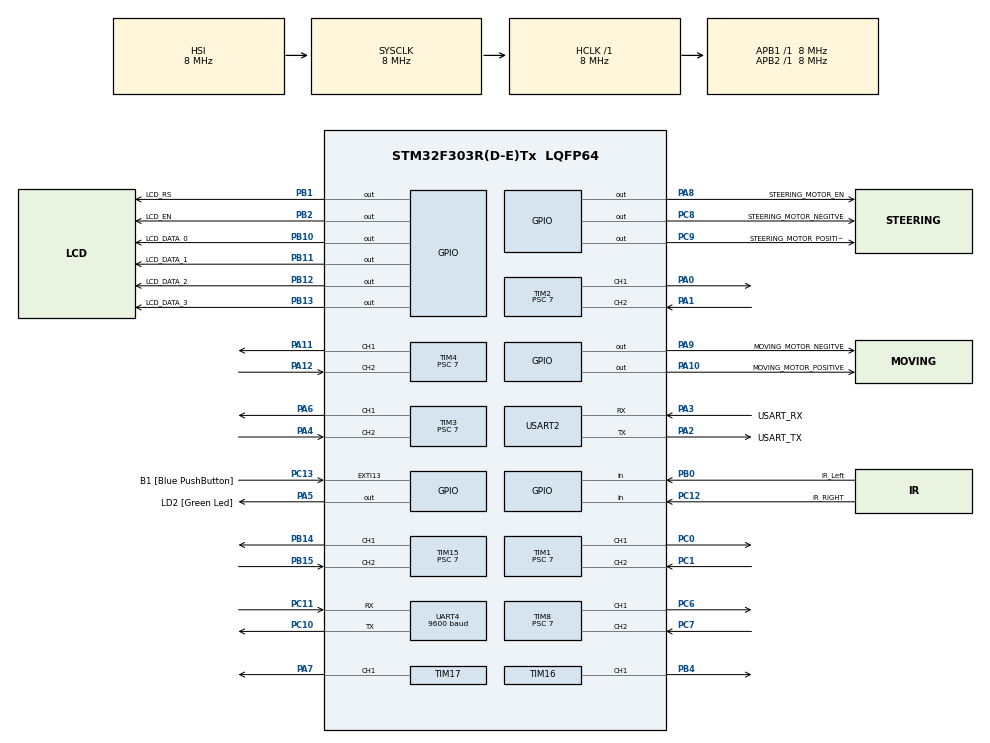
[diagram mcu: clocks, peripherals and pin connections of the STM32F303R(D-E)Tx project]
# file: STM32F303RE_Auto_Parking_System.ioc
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FREERTOS.Events01=Car_mode,Dynamic,NULL;Parking_side,Dynamic,NULL
FREERTOS.Mutexes01=Car_Conrol_Mode,Dynamic,NULL
FREERTOS.Tasks01=defaultTask,55,128,DefaultTask,Default,NULL,Dynamic,NULL,NULL;ultrasonics_read,54,128,RTOS_Ultrasonics_Read,Default,NULL,Dynamic,NULL,NULL;car_next_step,52,128,RTOS_Car_Next_Step,Default,NULL,Dynamic,NULL,NULL;Automatic_Parking,53,128,RTOS_Automatic_Parking,Default,NULL,Dynamic,NULL,NULL
FREERTOS.configMAX_TASK_NAME_LEN=20
FREERTOS.configTOTAL_HEAP_SIZE=5120
FREERTOS.configUSE_NEWLIB_REENTRANT=1
Mcu.Family=STM32F3
Mcu.Name=STM32F303R(D-E)Tx
Mcu.Package=LQFP64
NVIC.PriorityGroup=NVIC_PRIORITYGROUP_4
NVIC.TIM1_BRK_TIM15_IRQn=true\:5\:0\:false\:false\:true\:true\:true\:true\:true
NVIC.TIM1_CC_IRQn=true\:5\:0\:false\:false\:true\:true\:true\:true\:true
NVIC.TIM2_IRQn=true\:5\:0\:false\:false\:true\:true\:true\:true\:true
NVIC.TIM3_IRQn=true\:5\:0\:false\:false\:true\:true\:true\:true\:true
NVIC.TIM4_IRQn=true\:5\:0\:false\:false\:true\:true\:true\:true\:true
NVIC.TIM6_DAC_IRQn=true\:15\:0\:false\:false\:true\:false\:false\:true\:true
NVIC.TIM8_CC_IRQn=true\:5\:0\:false\:false\:true\:true\:true\:true\:true
NVIC.TimeBase=TIM6_DAC_IRQn
NVIC.TimeBaseIP=TIM6
NVIC.UART4_IRQn=true\:5\:0\:false\:false\:true\:true\:true\:true\:true
PA0.GPIO_PuPd=GPIO_PULLDOWN
PA0.GPIO_Speed=GPIO_SPEED_FREQ_HIGH
PA0.Signal=S_TIM2_CH1_ETR
PA1.Signal=S_TIM2_CH2
PA10.GPIO_Label=MOVING_MOTOR_POSITIVE
PA10.Signal=GPIO_Output
PA11.GPIO_PuPd=GPIO_PULLDOWN
PA11.GPIO_Speed=GPIO_SPEED_FREQ_HIGH
PA11.Signal=S_TIM4_CH1
PA12.Signal=S_TIM4_CH2
PA13.GPIO_Label=TMS
PA13.Mode=Serial_Wire
PA13.Signal=SYS_JTMS-SWDIO
PA14.GPIO_Label=TCK
PA14.Mode=Serial_Wire
PA14.Signal=SYS_JTCK-SWCLK
PA2.GPIO_Label=USART_TX
PA2.GPIO_Mode=GPIO_MODE_AF_PP
PA2.GPIO_PuPd=GPIO_NOPULL
PA2.GPIO_Speed=GPIO_SPEED_FREQ_LOW
PA2.Mode=Asynchronous
PA2.Signal=USART2_TX
PA3.GPIO_Label=USART_RX
PA3.GPIO_Mode=GPIO_MODE_AF_PP
PA3.GPIO_PuPd=GPIO_NOPULL
PA3.GPIO_Speed=GPIO_SPEED_FREQ_LOW
PA3.Mode=Asynchronous
PA3.Signal=USART2_RX
PA4.Signal=S_TIM3_CH2
PA5.GPIO_Label=LD2 [Green Led]
PA5.GPIO_Mode=GPIO_MODE_OUTPUT_PP
PA5.GPIO_PuPd=GPIO_NOPULL
PA5.GPIO_Speed=GPIO_SPEED_FREQ_LOW
PA5.Signal=GPIO_Output
PA6.GPIO_PuPd=GPIO_PULLDOWN
PA6.GPIO_Speed=GPIO_SPEED_FREQ_HIGH
PA6.Signal=S_TIM3_CH1
PA7.Signal=S_TIM17_CH1
PA8.GPIO_Label=STEERING_MOTOR_EN
PA8.Signal=GPIO_Output
PA9.GPIO_Label=MOVING_MOTOR_NEGITVE
PA9.Signal=GPIO_Output
PB0.GPIO_Label=IR_Left
PB0.Signal=GPIO_Input
PB1.GPIO_Label=LCD_RS
PB1.Signal=GPIO_Output
PB10.GPIO_Label=LCD_DATA_0
PB10.Signal=GPIO_Output
PB11.GPIO_Label=LCD_DATA_1
PB11.Signal=GPIO_Output
PB12.GPIO_Label=LCD_DATA_2
PB12.Signal=GPIO_Output
PB13.GPIO_Label=LCD_DATA_3
PB13.Signal=GPIO_Output
PB14.GPIO_PuPd=GPIO_PULLDOWN
PB14.GPIO_Speed=GPIO_SPEED_FREQ_HIGH
PB14.Signal=S_TIM15_CH1
PB15.Signal=S_TIM15_CH2
PB2.GPIO_Label=LCD_EN
PB2.PinState=GPIO_PIN_SET
PB2.Signal=GPIO_Output
PB3.GPIO_Label=SWO
PB3.Signal=SYS_JTDO-TRACESWO
PB4.GPIO_PuPd=GPIO_PULLDOWN
PB4.GPIO_Speed=GPIO_SPEED_FREQ_HIGH
PB4.Signal=S_TIM16_CH1
PC0.GPIO_PuPd=GPIO_PULLDOWN
PC0.GPIO_Speed=GPIO_SPEED_FREQ_HIGH
PC0.Signal=S_TIM1_CH1
PC1.Signal=S_TIM1_CH2
PC10.Mode=Asynchronous
PC10.Signal=UART4_TX
PC11.Mode=Asynchronous
PC11.Signal=UART4_RX
PC12.GPIO_Label=IR_RIGHT
PC12.Signal=GPIO_Input
PC13.GPIO_Label=B1 [Blue PushButton]
PC13.GPIO_ModeDefaultEXTI=GPIO_MODE_IT_FALLING
PC13.Signal=GPXTI13
PC14-OSC32_IN.Mode=LSE-External-Clock-Source
PC14-OSC32_IN.Signal=RCC_OSC32_IN
PC15-OSC32_OUT.Signal=RCC_OSC32_OUT
PC6.GPIO_PuPd=GPIO_PULLDOWN
PC6.GPIO_Speed=GPIO_SPEED_FREQ_HIGH
PC6.Signal=S_TIM8_CH1
PC7.Signal=S_TIM8_CH2
PC8.GPIO_Label=STEERING_MOTOR_NEGITVE
PC8.Signal=GPIO_Output
PC9.GPIO_Label=STEERING_MOTOR_POSITIVE
PC9.Signal=GPIO_Output
PF0-OSC_IN.Signal=RCC_OSC_IN
PF1-OSC_OUT.Signal=RCC_OSC_OUT
ProjectManager.HeapSize=0x200
ProjectManager.StackSize=0x400
ProjectManager.TargetToolchain=STM32CubeIDE
RCC.AHBFreq_Value=8000000
RCC.APB1Freq_Value=8000000
RCC.APB1TimFreq_Value=8000000
RCC.APB2Freq_Value=8000000
RCC.APB2TimFreq_Value=8000000
RCC.CortexFreq_Value=8000000
RCC.HCLKFreq_Value=8000000
RCC.HSE_VALUE=8000000
RCC.HSI_VALUE=8000000
RCC.LSE_VALUE=32768
RCC.PLLM=8
RCC.PLLMUL=RCC_PLL_MUL9
RCC.PLLN=336
RCC.PLLP=RCC_PLLP_DIV4
RCC.PLLQ=7
RCC.RCC_PLLsource_Clock_Source_FROM_HSE=RCC_HSE_PREDIV_DIV2
RCC.SYSCLKFreq_VALUE=8000000
RCC.USBFreq_Value=72000000
SH.S_TIM15_CH1.0=TIM15_CH1,PWM Generation1 CH1
SH.S_TIM15_CH2.0=TIM15_CH2,Input_Capture2_from_TI2
SH.S_TIM16_CH1.0=TIM16_CH1,PWM Generation1 CH1
SH.S_TIM17_CH1.0=TIM17_CH1,PWM Generation1 CH1
SH.S_TIM1_CH1.0=TIM1_CH1,PWM Generation1 CH1
SH.S_TIM1_CH2.0=TIM1_CH2,Input_Capture2_from_TI2
SH.S_TIM2_CH1_ETR.0=TIM2_CH1,PWM Generation1 CH1
SH.S_TIM2_CH2.0=TIM2_CH2,Input_Capture2_from_TI2
SH.S_TIM3_CH1.0=TIM3_CH1,PWM Generation1 CH1
SH.S_TIM3_CH2.0=TIM3_CH2,Input_Capture2_from_TI2
SH.S_TIM4_CH1.0=TIM4_CH1,PWM Generation1 CH1
SH.S_TIM4_CH2.0=TIM4_CH2,Input_Capture2_from_TI2
SH.S_TIM8_CH1.0=TIM8_CH1,PWM Generation1 CH1
SH.S_TIM8_CH2.0=TIM8_CH2,Input_Capture2_from_TI2
TIM1.Channel-Input_Capture2_from_TI2=TIM_CHANNEL_2
TIM1.Channel-PWM\ Generation1\ CH1=TIM_CHANNEL_1
TIM1.Prescaler=7
TIM1.Pulse-PWM\ Generation1\ CH1=32700
TIM15.Channel-Input_Capture2_from_TI2=TIM_CHANNEL_2
TIM15.Channel-PWM\ Generation1\ CH1=TIM_CHANNEL_1
TIM15.Prescaler=7
TIM15.Pulse-PWM\ Generation1\ CH1=32700
TIM16.Channel=TIM_CHANNEL_1
TIM16.Prescaler=7
TIM16.Pulse=32700
TIM17.Channel=TIM_CHANNEL_1
TIM17.Prescaler=7
TIM17.Pulse=32700
TIM2.Channel-Input_Capture2_from_TI2=TIM_CHANNEL_2
TIM2.Channel-PWM\ Generation1\ CH1=TIM_CHANNEL_1
TIM2.Period=65535
TIM2.Prescaler=7
TIM2.Pulse-PWM\ Generation1\ CH1=32700
TIM3.Channel-Input_Capture2_from_TI2=TIM_CHANNEL_2
TIM3.Channel-PWM\ Generation1\ CH1=TIM_CHANNEL_1
TIM3.Prescaler=7
TIM3.Pulse-PWM\ Generation1\ CH1=32700
TIM4.Channel-Input_Capture2_from_TI2=TIM_CHANNEL_2
TIM4.Channel-PWM\ Generation1\ CH1=TIM_CHANNEL_1
TIM4.Prescaler=7
TIM4.Pulse-PWM\ Generation1\ CH1=32700
TIM8.Channel-Input_Capture2_from_TI2=TIM_CHANNEL_2
TIM8.Channel-PWM\ Generation1\ CH1=TIM_CHANNEL_1
TIM8.Prescaler=7
TIM8.Pulse-PWM\ Generation1\ CH1=32700
UART4.BaudRate=9600
USART2.VirtualMode-Asynchronous=VM_ASYNC
VP_FREERTOS_VS_CMSIS_V2.Mode=CMSIS_V2
VP_SYS_VS_tim6.Mode=TIM6
VP_TIM15_VS_ClockSourceINT.Mode=Internal
VP_TIM16_VS_ClockSourceINT.Mode=Enable_Timer
VP_TIM17_VS_ClockSourceINT.Mode=Enable_Timer
VP_TIM1_VS_ClockSourceINT.Mode=Internal
VP_TIM2_VS_ClockSourceINT.Mode=Internal
VP_TIM3_VS_ClockSourceINT.Mode=Internal
VP_TIM4_VS_ClockSourceINT.Mode=Internal
VP_TIM8_VS_ClockSourceINT.Mode=Internal
board=NUCLEO-F303RE

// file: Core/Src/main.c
/* USER CODE BEGIN Header */
/**
  ******************************************************************************
  * @file           : main.c
  * @brief          : Main program body
  ******************************************************************************
  * @attention
  *
  * Copyright (c) 2023 STMicroelectronics.
  * All rights reserved.
  *
  * This software is licensed under terms that can be found in the LICENSE file
  * in the root directory of this software component.
  * If no LICENSE file comes with this software, it is provided AS-IS.
  *
  ******************************************************************************
  */
/* USER CODE END Header */
#include "main.h"
#include "cmsis_os.h"
#include "tim.h"
#include "usart.h"
#include "gpio.h"

void SystemClock_Config(void);
void MX_FREERTOS_Init(void);

int main(void)
{

  /* MCU Configuration--------------------------------------------------------*/

  /* Reset of all peripherals, Initializes the Flash interface and the Systick. */
  HAL_Init();

  /* Configure the system clock */
  SystemClock_Config();

  /* Initialize all configured peripherals */
  MX_GPIO_Init();
  MX_TIM1_Init();
  MX_TIM2_Init();
  MX_TIM3_Init();
  MX_TIM4_Init();
  MX_TIM8_Init();
  MX_TIM15_Init();
  MX_TIM16_Init();
  MX_USART2_UART_Init();
  MX_UART4_Init();
  MX_TIM17_Init();

  /* Init scheduler */
  osKernelInitialize();  /* Call init function for freertos objects (in freertos.c) */
  MX_FREERTOS_Init();

  /* Start scheduler */
  osKernelStart();

  /* We should never get here as control is now taken by the scheduler */
  /* Infinite loop */
  while (1)
  {

  }
}

void SystemClock_Config(void)
{
  RCC_OscInitTypeDef RCC_OscInitStruct = {0};
  RCC_ClkInitTypeDef RCC_ClkInitStruct = {0};
  RCC_PeriphCLKInitTypeDef PeriphClkInit = {0};

  /** Initializes the RCC Oscillators according to the specified parameters
  * in the RCC_OscInitTypeDef structure.
  */
  RCC_OscInitStruct.OscillatorType = RCC_OSCILLATORTYPE_HSI;
  RCC_OscInitStruct.HSIState = RCC_HSI_ON;
  RCC_OscInitStruct.HSICalibrationValue = RCC_HSICALIBRATION_DEFAULT;
  RCC_OscInitStruct.PLL.PLLState = RCC_PLL_NONE;
  if (HAL_RCC_OscConfig(&RCC_OscInitStruct) != HAL_OK)
  {
    Error_Handler();
  }

  /** Initializes the CPU, AHB and APB buses clocks
  */
  RCC_ClkInitStruct.ClockType = RCC_CLOCKTYPE_HCLK|RCC_CLOCKTYPE_SYSCLK
                              |RCC_CLOCKTYPE_PCLK1|RCC_CLOCKTYPE_PCLK2;
  RCC_ClkInitStruct.SYSCLKSource = RCC_SYSCLKSOURCE_HSI;
  RCC_ClkInitStruct.AHBCLKDivider = RCC_SYSCLK_DIV1;
  RCC_ClkInitStruct.APB1CLKDivider = RCC_HCLK_DIV1;
  RCC_ClkInitStruct.APB2CLKDivider = RCC_HCLK_DIV1;

  if (HAL_RCC_ClockConfig(&RCC_ClkInitStruct, FLASH_LATENCY_0) != HAL_OK)
  {
    Error_Handler();
  }
  PeriphClkInit.PeriphClockSelection = RCC_PERIPHCLK_USART2|RCC_PERIPHCLK_UART4
                              |RCC_PERIPHCLK_TIM1|RCC_PERIPHCLK_TIM15
                              |RCC_PERIPHCLK_TIM16|RCC_PERIPHCLK_TIM17
                              |RCC_PERIPHCLK_TIM8|RCC_PERIPHCLK_TIM2
                              |RCC_PERIPHCLK_TIM34;
  PeriphClkInit.Usart2ClockSelection = RCC_USART2CLKSOURCE_PCLK1;
  PeriphClkInit.Uart4ClockSelection = RCC_UART4CLKSOURCE_PCLK1;
  PeriphClkInit.Tim1ClockSelection = RCC_TIM1CLK_HCLK;
  PeriphClkInit.Tim15ClockSelection = RCC_TIM15CLK_HCLK;
  PeriphClkInit.Tim16ClockSelection = RCC_TIM16CLK_HCLK;
  PeriphClkInit.Tim17ClockSelection = RCC_TIM17CLK_HCLK;
  PeriphClkInit.Tim8ClockSelection = RCC_TIM8CLK_HCLK;
  PeriphClkInit.Tim2ClockSelection = RCC_TIM2CLK_HCLK;
  PeriphClkInit.Tim34ClockSelection = RCC_TIM34CLK_HCLK;
  if (HAL_RCCEx_PeriphCLKConfig(&PeriphClkInit) != HAL_OK)
  {
    Error_Handler();
  }
}

void HAL_TIM_PeriodElapsedCallback(TIM_HandleTypeDef *htim)
{
  if (htim->Instance == TIM6) {
    HAL_IncTick();
  }
}

void Error_Handler(void)
{
  __disable_irq();
  while (1)
  {
  }
}

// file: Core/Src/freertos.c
/* USER CODE BEGIN Header */
/**
  ******************************************************************************
  * File Name          : freertos.c
  * Description        : Code for freertos applications
  ******************************************************************************
  * @attention
  *
  * Copyright (c) 2023 STMicroelectronics.
  * All rights reserved.
  *
  * This software is licensed under terms that can be found in the LICENSE file
  * in the root directory of this software component.
  * If no LICENSE file comes with this software, it is provided AS-IS.
  *
  ******************************************************************************
  */
/* USER CODE END Header */

#include "FreeRTOS.h"
#include "task.h"
#include "main.h"
#include "cmsis_os.h"

/* USER CODE BEGIN Includes */
#include "tim.h"
#include "usart.h"
#include "../../ECU/ECU_std_types.h"
#include "../../MCAL/GPIO/mcal_gpio.h"
#include "../../Drivers/ECU/Motor/ecu_motor.h"
#include "../../Drivers/ECU/LCD/hal_lcd.h"
#include "../../Drivers/ECU/Ultrasonic/ultrasonic.h"
#include "../../Drivers/ECU/Bluetooth/bluetooth.h"
#include "../../Drivers/ECU/IR/ecu_ir.h"
#include "../../Drivers/ECU/Busser/busser.h"

/* USER CODE END Includes */

/* USER CODE BEGIN PD */
#define CAR_CONTROL_BIT          (1 << 0)
#define PARKING_SIDE_BIT         (1 << 1)
#define RIGHT_PARKING_SIDE       (0 << 1)
#define LEFT_PARKING_SIDE        (1 << 1)
#define MANUAL_CONTROL_MODE      (0)
#define AUTOMATIC_PARKING_MODE   (1)

/* USER CODE END PD */

/* USER CODE BEGIN Variables */

ultrasonic_obj_t Front_ultrasonic      = {.htim = &htim1, .PWM_Channel = TIM_CHANNEL_1, .IC_Channel = TIM_CHANNEL_2};

ultrasonic_obj_t RightFront_ultrasonic = {.htim = &htim2, .PWM_Channel = TIM_CHANNEL_1, .IC_Channel = TIM_CHANNEL_2};

ultrasonic_obj_t RightRear_ultrasonic  = {.htim = &htim3, .PWM_Channel = TIM_CHANNEL_1, .IC_Channel = TIM_CHANNEL_2};

ultrasonic_obj_t LeftFront_ultrasonic  = {.htim = &htim4, .PWM_Channel = TIM_CHANNEL_1, .IC_Channel = TIM_CHANNEL_2};

ultrasonic_obj_t LeftRear_ultrasonic   = {.htim = &htim8, .PWM_Channel = TIM_CHANNEL_1, .IC_Channel = TIM_CHANNEL_2};

ultrasonic_obj_t Rear_ultrasonic       = {.htim = &htim15,.PWM_Channel = TIM_CHANNEL_1, .IC_Channel = TIM_CHANNEL_2};

busser_obj_t busser       = {.htim = &htim17, .PWM_Channel = TIM_CHANNEL_1, .Frequency = 2500, .Duty_Cycle = 0.25};

motor_obj_t moving_motor  = {.htim = &htim16, .PWM_Channel = TIM_CHANNEL_1, .speed.Frequency = 25000, .speed.Duty_Cycle = 0.9};

bluetooth_obj_t bluetooth = {.huart = &huart4, .Numberofdata = 1};

/* USER CODE END Variables */
/* Definitions for defaultTask */
osThreadId_t defaultTaskHandle;
const osThreadAttr_t defaultTask_attributes = {
  .name = "defaultTask",
  .stack_size = 128 * 4,
  .priority = (osPriority_t) osPriorityRealtime7,
};
/* Definitions for ultrasonics_read */
osThreadId_t ultrasonics_readHandle;
const osThreadAttr_t ultrasonics_read_attributes = {
  .name = "ultrasonics_read",
  .stack_size = 128 * 4,
  .priority = (osPriority_t) osPriorityRealtime6,
};
/* Definitions for car_next_step */
osThreadId_t car_next_stepHandle;
const osThreadAttr_t car_next_step_attributes = {
  .name = "car_next_step",
  .stack_size = 128 * 4,
  .priority = (osPriority_t) osPriorityRealtime4,
};
/* Definitions for Automatic_Parking */
osThreadId_t Automatic_ParkingHandle;
const osThreadAttr_t Automatic_Parking_attributes = {
  .name = "Automatic_Parking",
  .stack_size = 128 * 4,
  .priority = (osPriority_t) osPriorityRealtime5,
};
/* Definitions for Car_Conrol_Mode */
osMutexId_t Car_Conrol_ModeHandle;
const osMutexAttr_t Car_Conrol_Mode_attributes = {
  .name = "Car_Conrol_Mode"
};
/* Definitions for Car_mode */
osEventFlagsId_t Car_modeHandle;
const osEventFlagsAttr_t Car_mode_attributes = {
  .name = "Car_mode"
};
/* Definitions for Parking_side */
osEventFlagsId_t Parking_sideHandle;
const osEventFlagsAttr_t Parking_side_attributes = {
  .name = "Parking_side"
};

void DefaultTask(void *argument);
void RTOS_Ultrasonics_Read(void *argument);
void RTOS_Car_Next_Step(void *argument);
void RTOS_Automatic_Parking(void *argument);

void MX_FREERTOS_Init(void); /* (MISRA C 2004 rule 8.1) */

void MX_FREERTOS_Init(void) {
  /* Create the mutex(es) */
  /* creation of Car_Conrol_Mode */
  Car_Conrol_ModeHandle = osMutexNew(&Car_Conrol_Mode_attributes);

  /* Create the thread(s) */
  /* creation of defaultTask */
  defaultTaskHandle = osThreadNew(DefaultTask, NULL, &defaultTask_attributes);

  /* creation of ultrasonics_read */
  ultrasonics_readHandle = osThreadNew(RTOS_Ultrasonics_Read, NULL, &ultrasonics_read_attributes);

  /* creation of car_next_step */
  car_next_stepHandle = osThreadNew(RTOS_Car_Next_Step, NULL, &car_next_step_attributes);

  /* creation of Automatic_Parking */
  Automatic_ParkingHandle = osThreadNew(RTOS_Automatic_Parking, NULL, &Automatic_Parking_attributes);

  /* creation of Car_mode */
  Car_modeHandle = osEventFlagsNew(&Car_mode_attributes);

  /* creation of Parking_side */
  Parking_sideHandle = osEventFlagsNew(&Parking_side_attributes);

}

void DefaultTask(void *argument)
{
  /* USER CODE BEGIN DefaultTask */
	ECU_Bluetooth_ReciveData(&bluetooth);

	ECU_Motor_GeneratePWM(&moving_motor);

  /* Infinite loop */
  for(;;)
  {
	  //printf("DefaultTask is Running\n");
	  osThreadSuspend(Automatic_ParkingHandle);

	  /* Suspend itself */
	  osThreadSuspend(osThreadGetId());
    osDelay(1000);
  }
  /* USER CODE END DefaultTask */
}

void RTOS_Ultrasonics_Read(void *argument)
{
  /* USER CODE BEGIN RTOS_Ultrasonics_Read */

  /* Infinite loop */
  for(;;)
  {
	  /*
	  if(ECU_IR_IsActive(&IR_Right_Rear) == IR_Active_STATE){
		  ECU_Busser_GeneratePWM(&busser);
	  }
	  else{
		  ECU_Busser_StopPWM(&busser);
	  }*/
	  //printf("IR_Right_Rear in = %d\n",ECU_IR_IsActive(&IR_Right_Rear));
	  //printf("IR_Left_Rear in = %d\n",ECU_IR_IsActive(&IR_Left_Rear));

	  if( (Bluetooth_RX_Data == AUTO_PARK_OFF) ){
		  osEventFlagsClear(Car_modeHandle, CAR_CONTROL_BIT);
		  osThreadSuspend(Automatic_ParkingHandle);
	  }
	  else{/* DO NOTHING */}

	  if((osEventFlagsGet(Car_modeHandle) & PARKING_SIDE_BIT) == RIGHT_PARKING_SIDE)
	  {
		  ECU_Ultrasonic_Read(&RightRear_ultrasonic);
		  ECU_Ultrasonic_Read(&Front_ultrasonic);
		  ECU_Ultrasonic_Read(&Rear_ultrasonic);
		  ECU_Ultrasonic_Read(&RightFront_ultrasonic);
	  }
	  else if((osEventFlagsGet(Car_modeHandle) & PARKING_SIDE_BIT) == LEFT_PARKING_SIDE)
	  {
		  ECU_Ultrasonic_Read(&LeftRear_ultrasonic);
		  ECU_Ultrasonic_Read(&Front_ultrasonic);
		  ECU_Ultrasonic_Read(&Rear_ultrasonic);
		  ECU_Ultrasonic_Read(&LeftFront_ultrasonic);
	  }
	  else{}

	  //ECU_Ultrasonic_Read(&LeftFront_ultrasonic);
	  //ECU_Ultrasonic_Read(&LeftRear_ultrasonic);

	  printf("Front_ultrasonic distance is %f\n",ultrasonic_Distance_Values[FRONT_ULTRASONIC_INDEX]);
	  printf("RightFront_ultrasonic distance is %f\n",ultrasonic_Distance_Values[RIGHT_FRONT_ULTRASONIC_INDEX]);
	  printf("RightRear_ultrasonic distance is %f\n",ultrasonic_Distance_Values[RIGHT_REAR_ULTRASONIC_INDEX]);
	  printf("LeftFront_ultrasonic distance is %f\n",ultrasonic_Distance_Values[LEFT_FRONT_ULTRASONIC_INDEX]);
	  printf("LeftRear_ultrasonic distance is %f\n",ultrasonic_Distance_Values[LEFT_REAR_ULTRASONIC_INDEX]);
	  printf("Rear_ultrasonic distance is %f\n",ultrasonic_Distance_Values[REAR_ULTRASONIC_INDEX]);

    osDelay(70);
  }
  /* USER CODE END RTOS_Ultrasonics_Read */
}

void RTOS_Car_Next_Step(void *argument)
{
  /* USER CODE BEGIN RTOS_Car_Next_Step */
  /* Infinite loop */
  for(;;)
  {
	  //printf("RTOS_Car_Next_Step is Running\n");
	  if( (Bluetooth_RX_Data == AUTO_PARK_RIGHT) ){
		  osEventFlagsSet(Car_modeHandle, CAR_CONTROL_BIT);
		  osEventFlagsClear(Car_modeHandle, PARKING_SIDE_BIT);
		  osThreadResume(Automatic_ParkingHandle);
		  osThreadSuspend(car_next_stepHandle);
	  }
	  else if( (Bluetooth_RX_Data == AUTO_PARK_LEFT) ){
		  osEventFlagsSet(Car_modeHandle, CAR_CONTROL_BIT);
		  osEventFlagsSet(Car_modeHandle, PARKING_SIDE_BIT);
		  osThreadResume(Automatic_ParkingHandle);
		  osThreadSuspend(car_next_stepHandle);
	  }
	  else{/* DO NOTHING */}

	  if( (osEventFlagsGet(Car_modeHandle) & CAR_CONTROL_BIT) == MANUAL_CONTROL_MODE){
		  //printf("Mobile Control Mode\n");
		  ECU_Motor_NextStep(&moving_motor, &Bluetooth_RX_Data);
	  }
	  else{/* DO NOTHING */}

	  osDelay(150);
  }
  /* USER CODE END RTOS_Car_Next_Step */
}

void RTOS_Automatic_Parking(void *argument)
{
  /* USER CODE BEGIN RTOS_Automatic_Parking */
	uint8_t front_ultrasonic = 0;
	uint8_t rear_ultrasonic = 0;
	uint32_t time_out = 0;
  /* Infinite loop */
  for(;;)
  {

	  if( (osEventFlagsGet(Car_modeHandle) & CAR_CONTROL_BIT) == AUTOMATIC_PARKING_MODE)
	  {
		  printf("-------------------------- Automatic Parking Mode ----------------------\n");

		  /* changing the speed to parking speed */
		  ECU_Motor_ChangeSpeed(&moving_motor, &medium_speed);

		  /* Selected Right Side to Park */
		  if((osEventFlagsGet(Car_modeHandle) & PARKING_SIDE_BIT) == RIGHT_PARKING_SIDE)
		  {
			  printf("Parking Right Side\n");

			  /* storing the ultra-sonic initial distance before parking */
			  front_ultrasonic = ultrasonic_Distance_Values[RIGHT_FRONT_ULTRASONIC_INDEX];
			  rear_ultrasonic = ultrasonic_Distance_Values[RIGHT_REAR_ULTRASONIC_INDEX];

			  /* MoveForward so it can Searching for Empty Slot */
			  ECU_Motor_MoveForward();
			  while((ultrasonic_Distance_Values[RIGHT_FRONT_ULTRASONIC_INDEX] < (front_ultrasonic + 15)) || (ultrasonic_Distance_Values[RIGHT_REAR_ULTRASONIC_INDEX] < (rear_ultrasonic + 15)))
			  {
				  //printf("RightFront_ultrasonic distance is %f\n",ultrasonic_Distance_Values[RIGHT_FRONT_ULTRASONIC_INDEX]);
				  //printf("RightRear_ultrasonic distance is %f\n",ultrasonic_Distance_Values[RIGHT_REAR_ULTRASONIC_INDEX]);
				  printf("Searching for Empty Slot\n");
			  }
			  printf("Found the Empty Slot\n");

			  /* Delay to let the car move Forward to about car length */
			  while((time_out != 0xff0) && ((ultrasonic_Distance_Values[RIGHT_FRONT_ULTRASONIC_INDEX] > (front_ultrasonic + 17)) || (ultrasonic_Distance_Values[RIGHT_REAR_ULTRASONIC_INDEX] > (rear_ultrasonic + 15))))
			  {
				  printf("Centering the car after Finding the Empty Slot\n");
				  time_out++;
			  }

			  /* Breaking Sequence */
			  ECU_Motor_MoveReverse();
			  HAL_Delay(5);
			  ECU_Motor_Stop();

			  /* reduce the speed while Reversing to deal with motor hardware inefficiency */
			  ECU_Motor_ChangeSpeed(&moving_motor, &low_speed);

			  ECU_Motor_MoveReverse();
			  HAL_Delay(1400);
			  ECU_Motor_Stop();

			  /* MoveReverseRight so the car rear can enter the Empty Slot */
			  ECU_Motor_MoveReverseRight();
			  while((ultrasonic_Distance_Values[REAR_ULTRASONIC_INDEX] > 30))
			  {
				  //printf("IR_Right_Rear in = %d",ECU_IR_IsActive(&IR_Right_Rear));
				  //printf("RightRear_ultrasonic distance is %lu\n",ultrasonic_Distance_Values[RIGHT_REAR_ULTRASONIC_INDEX]);
				  //printf("Rear_ultrasonic distance is %lu\n",ultrasonic_Distance_Values[REAR_ULTRASONIC_INDEX]);
				  printf("trying to Park 1 Reverse Right\n");
			  }
			  //printf("RightRear_ultrasonic distance is %lu\n",ultrasonic_Distance_Values[RIGHT_REAR_ULTRASONIC_INDEX]);
			  //printf("Rear_ultrasonic distance is %lu\n",ultrasonic_Distance_Values[REAR_ULTRASONIC_INDEX]);

			  /* Breaking Sequence */
			  ECU_Motor_MoveForward();
			  HAL_Delay(5);
			  ECU_Motor_Stop();

			  /* ReverseLeft to Adjust the position better in the slot */
			  ECU_Motor_MoveReverseLeft();
			  while((ultrasonic_Distance_Values[RIGHT_REAR_ULTRASONIC_INDEX] > 4) && (ultrasonic_Distance_Values[REAR_ULTRASONIC_INDEX] > 4))
			  {
				  //printf("Rear_ultrasonic distance is %lu\n",ultrasonic_Distance_Values[REAR_ULTRASONIC_INDEX]);
				  //printf("RightRear_ultrasonic distance is %lu\n",ultrasonic_Distance_Values[RIGHT_REAR_ULTRASONIC_INDEX]);
				  printf("trying to Park 2 Reverse Left\n");
			  }
			  //printf("Rear_ultrasonic distance is %lu\n",ultrasonic_Distance_Values[REAR_ULTRASONIC_INDEX]);
			  //printf("RightRear_ultrasonic distance is %lu\n",ultrasonic_Distance_Values[RIGHT_REAR_ULTRASONIC_INDEX]);

			  /* Breaking Sequence */
			  ECU_Motor_MoveForward();
			  HAL_Delay(5);
			  ECU_Motor_Stop();

			  /* return the speed back to parking speed */
			  ECU_Motor_ChangeSpeed(&moving_motor, &low_speed);

			  /* MoveForwardRight to Adjust the position of the front of the car */
			  ECU_Motor_MoveForwardRight();
			  while((ultrasonic_Distance_Values[FRONT_ULTRASONIC_INDEX] > 5) && (ultrasonic_Distance_Values[RIGHT_FRONT_ULTRASONIC_INDEX] > 13))
			  {
				  printf("trying to Park 3 Forward Right\n");
			  }

			  /* Breaking Sequence */
			  ECU_Motor_MoveReverse();
			  HAL_Delay(5);
			  ECU_Motor_Stop();

			  /* reduce the speed while Reversing to deal with motor hardware inefficiency */
			  ECU_Motor_ChangeSpeed(&moving_motor, &low_speed);

			  /* ReverseLeft to Adjust the position better in the slot */
			  ECU_Motor_MoveReverseLeft();
			  HAL_Delay(300);
			  ECU_Motor_Stop();

			  /* MoveReverse to Adjust the position better in the slot */
			  ECU_Motor_MoveReverse();
			  while( (ultrasonic_Distance_Values[REAR_ULTRASONIC_INDEX] > 20) )
			  {
				  printf("try to Park 4 Reverse \n");
			  }

			  /* Breaking Sequence */
			  ECU_Motor_MoveForward();
			  HAL_Delay(5);
			  ECU_Motor_Stop();

			  ECU_Motor_MoveForwardRight(&moving_motor);
			  while((ultrasonic_Distance_Values[FRONT_ULTRASONIC_INDEX] > 10 ) && (ultrasonic_Distance_Values[RIGHT_FRONT_ULTRASONIC_INDEX] > 12) /*&& (ultrasonic_Distance_Values[RIGHT_REAR_ULTRASONIC_INDEX] > 4)*/)
			  {
				  printf("try to Park 5 Forward Right\n");
			  }
			  ECU_Motor_MoveReverse();
			  HAL_Delay(5);
			  ECU_Motor_Stop();

		  }
		  /* ----------------------------------------------- Selected Left Side to Park -------------------------------------------- */
		  else if((osEventFlagsGet(Car_modeHandle) & PARKING_SIDE_BIT) == LEFT_PARKING_SIDE)
		  {
			  printf("Park Left Side\n");

			  /* storing the ultra-sonic initial distance before parking */
			  front_ultrasonic = ultrasonic_Distance_Values[LEFT_FRONT_ULTRASONIC_INDEX];
			  rear_ultrasonic = ultrasonic_Distance_Values[LEFT_REAR_ULTRASONIC_INDEX];

			  /* MoveForward so it can Searching for Empty Slot */
			  ECU_Motor_MoveForward();
			  while((ultrasonic_Distance_Values[LEFT_FRONT_ULTRASONIC_INDEX] < (front_ultrasonic + 15)) || (ultrasonic_Distance_Values[LEFT_REAR_ULTRASONIC_INDEX] < (rear_ultrasonic + 15)))
			  {
				  //printf("LeftFront_ultrasonic distance is %f\n",ultrasonic_Distance_Values[LEFT_FRONT_ULTRASONIC_INDEX]);
				  //printf("LeftRear_ultrasonic distance is %f\n",ultrasonic_Distance_Values[LEFT_REAR_ULTRASONIC_INDEX]);
				  printf("Searching for Empty Slot\n");
			  }
			  printf("Found the Empty Slot\n");

			  /* Delay to let the car move Forward to about car length */
			  while((time_out != 0xff0) && ((ultrasonic_Distance_Values[LEFT_FRONT_ULTRASONIC_INDEX] > (front_ultrasonic + 17)) || (ultrasonic_Distance_Values[LEFT_REAR_ULTRASONIC_INDEX] > (rear_ultrasonic + 15))))
			  {
				  printf("Centering the car after Finding the Empty Slot\n");
				  time_out++;
			  }

			  /* Breaking Sequence */
			  ECU_Motor_MoveReverse();
			  HAL_Delay(5);
			  ECU_Motor_Stop();

			  /* reduce the speed while Reversing to deal with motor hardware inefficiency */
			  ECU_Motor_ChangeSpeed(&moving_motor, &low_speed);

			  ECU_Motor_MoveReverse();
			  HAL_Delay(1400);
			  ECU_Motor_Stop();

			  /* MoveReverseLeft so the car rear can enter the Empty Slot */
			  ECU_Motor_MoveReverseLeft();
			  while((ultrasonic_Distance_Values[REAR_ULTRASONIC_INDEX] > 20))
			  {
				  //printf("IR_Left_Rear in = %d",ECU_IR_IsActive(&IR_Left_Rear));
				  //printf("LeftRear_ultrasonic distance is %lu\n",ultrasonic_Distance_Values[LEFT_REAR_ULTRASONIC_INDEX]);
				  //printf("Rear_ultrasonic distance is %lu\n",ultrasonic_Distance_Values[REAR_ULTRASONIC_INDEX]);
				  printf("trying to Park 1 Reverse Left\n");
			  }
			  //printf("LeftRear_ultrasonic distance is %lu\n",ultrasonic_Distance_Values[LEFT_REAR_ULTRASONIC_INDEX]);
			  //printf("Rear_ultrasonic distance is %lu\n",ultrasonic_Distance_Values[REAR_ULTRASONIC_INDEX]);

			  /* Breaking Sequence */
			  ECU_Motor_MoveForward();
			  HAL_Delay(5);
			  ECU_Motor_Stop();

			  /* ReverseRight to Adjust the position better in the slot */
			  ECU_Motor_MoveReverseRight();
			  while((ultrasonic_Distance_Values[LEFT_REAR_ULTRASONIC_INDEX] > 4) && (ultrasonic_Distance_Values[REAR_ULTRASONIC_INDEX] > 4))
			  {
				  //printf("Rear_ultrasonic distance is %lu\n",ultrasonic_Distance_Values[REAR_ULTRASONIC_INDEX]);
				  //printf("LeftRear_ultrasonic distance is %lu\n",ultrasonic_Distance_Values[LEFT_REAR_ULTRASONIC_INDEX]);
				  printf("trying to Park 2 Reverse Right\n");
			  }
			  //printf("Rear_ultrasonic distance is %lu\n",ultrasonic_Distance_Values[REAR_ULTRASONIC_INDEX]);
			  //printf("LeftRear_ultrasonic distance is %lu\n",ultrasonic_Distance_Values[LEFT_REAR_ULTRASONIC_INDEX]);

			  /* Breaking Sequence */
			  ECU_Motor_MoveForward();
			  HAL_Delay(5);
			  ECU_Motor_Stop();

			  /* return the speed back to parking speed */
			  ECU_Motor_ChangeSpeed(&moving_motor, &low_speed);

			  /* MoveForwardLeft to Adjust the position of the front of the car */
			  ECU_Motor_MoveForwardLeft();
			  while((ultrasonic_Distance_Values[FRONT_ULTRASONIC_INDEX] > 5) && (ultrasonic_Distance_Values[LEFT_FRONT_ULTRASONIC_INDEX] > 13))
			  {
				  printf("trying to Park 3 Forward Left\n");
			  }

			  /* Breaking Sequence */
			  ECU_Motor_MoveReverse();
			  HAL_Delay(5);
			  ECU_Motor_Stop();

			  /* reduce the speed while Reversing to deal with motor hardware inefficiency */
			  ECU_Motor_ChangeSpeed(&moving_motor, &low_speed);

			  /* ReverseRight to Adjust the position better in the slot */
			  ECU_Motor_MoveReverseRight();
			  HAL_Delay(300);
			  ECU_Motor_Stop();

			  /* MoveReverse to Adjust the position better in the slot */
			  ECU_Motor_MoveReverse();
			  while( (ultrasonic_Distance_Values[REAR_ULTRASONIC_INDEX] > 20) )
			  {
				  printf("try to Park 4 Reverse \n");
			  }

			  /* Breaking Sequence */
			  ECU_Motor_MoveForward();
			  HAL_Delay(5);
			  ECU_Motor_Stop();

			  ECU_Motor_MoveForwardLeft(&moving_motor);
			  while((ultrasonic_Distance_Values[FRONT_ULTRASONIC_INDEX] > 10 ) && (ultrasonic_Distance_Values[LEFT_FRONT_ULTRASONIC_INDEX] > 9) /*&& (ultrasonic_Distance_Values[RIGHT_REAR_ULTRASONIC_INDEX] > 4)*/)
			  {
				  printf("try to Park 5 Forward Left\n");
			  }
			  ECU_Motor_MoveReverse();
			  HAL_Delay(5);
			  ECU_Motor_Stop();
		  }
		  else{/* DO NOTHING */}

		  /* terminating the Auto Parking mode */
		  //printf("Finally ... the car should be parked successfully by now\n");
		  osEventFlagsClear(Car_modeHandle, CAR_CONTROL_BIT);
		  ECU_Motor_ChangeSpeed(&moving_motor, &high_speed);
		  //Bluetooth_RX_Data = 'S';

	  }
	  else{/* DO NOTHING */}

	  osThreadResume(car_next_stepHandle);
	  osThreadSuspend(Automatic_ParkingHandle);

    osDelay(120000);
  }
  /* USER CODE END RTOS_Automatic_Parking */
}
